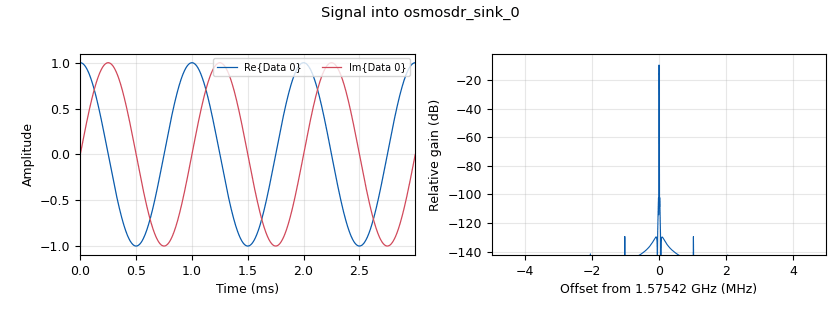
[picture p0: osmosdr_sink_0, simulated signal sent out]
options:
  parameters:
    generate_options: qt_gui
    id: CW_jammer
    output_language: python
    title: Not titled yet
  states: {}

blocks:
- name: center_freq
  id: variable_qtgui_range
  parameters:
    start: target_center-10e6
    step: '1'
    stop: target_center+10e6
    value: target_center
  states: {}
- name: freq_bias
  id: variable_qtgui_range
  parameters:
    start: '-1e5'
    step: '1'
    stop: 1e5
    value: '0'
  states: {}
- name: samp_rate
  id: variable
  parameters:
    value: 10e6
  states: {}
- name: target_center
  id: variable
  parameters:
    value: 1.57542e9
  states: {}
- name: analog_sig_source_x_0
  id: analog_sig_source_x
  parameters:
    amp: '1'
    freq: '1000'
    offset: '0'
    phase: '0'
    samp_rate: samp_rate
    type: complex
    waveform: analog.GR_COS_WAVE
  states: {}
- name: osmosdr_sink_0
  id: osmosdr_sink
  parameters:
    bb_gain0: '20'
    freq0: center_freq+freq_bias-1000
    gain0: '10'
    if_gain0: '20'
    sample_rate: samp_rate
    sync: sync
    type: fc32
  states: {}

connections:
- [analog_sig_source_x_0, '0', osmosdr_sink_0, '0']

metadata:
  file_format: 1
  grc_version: 3.10.3.0
